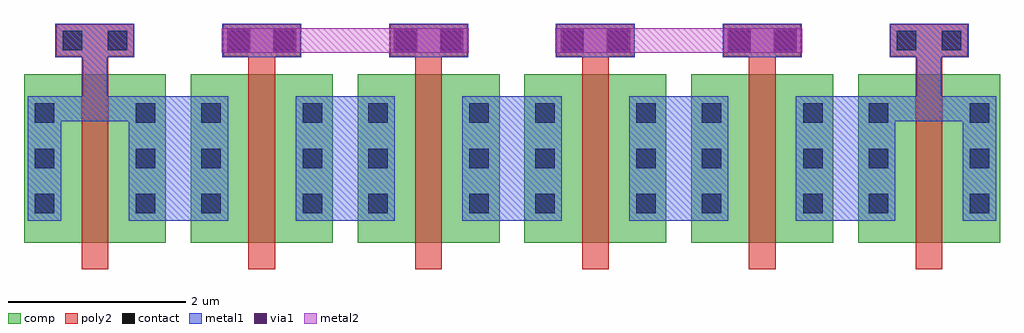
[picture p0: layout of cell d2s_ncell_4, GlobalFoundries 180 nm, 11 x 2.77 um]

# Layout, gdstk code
import gdstk
lib = gdstk.Library(unit=1e-6, precision=5e-09)
def R(c, l, rs):  # rectangles x0, y0, x1, y1
    for r in rs: c.add(gdstk.rectangle(r[:2], r[2:], *l))
def A(c, l, x, y, w, h, nx, ny, dx, dy):  # array of equal rectangles
    R(c, l, [(x+i*dx, y+j*dy, x+i*dx+w, y+j*dy+h) for i in range(nx) for j in range(ny)])
comp = (22, 0)
poly2 = (30, 0)
contact = (33, 0)
metal1 = (34, 0)
via1 = (35, 0)
metal2 = (36, 0)

d2s_ncell_1 = lib.new_cell('d2s_ncell_1')
R(d2s_ncell_1, comp, [(0,0.3,0.46,2.2), (0.46,0.3,1.14,2.2), (1.14,0.3,1.6,2.2)])
R(d2s_ncell_1, poly2, [(0.65,0,0.95,2.5)])
A(d2s_ncell_1, contact, 0.12, 0.63, 0.22, 0.22, 1, 3, 0, 0.51)
A(d2s_ncell_1, contact, 1.26, 0.63, 0.22, 0.22, 1, 3, 0, 0.51)
R(d2s_ncell_1, metal1, [(0.04,0.55,0.42,1.95), (1.18,0.55,1.56,1.95)])

d2s_ncell_4 = lib.new_cell('d2s_ncell_4')
A(d2s_ncell_4, poly2, 0.365, 2.4, 0.87, 0.36, 6, 1, 1.88, 0)
R(d2s_ncell_4, contact, [(0.435,2.47,0.655,2.69), (0.945,2.47,1.165,2.69), (2.315,2.47,2.535,2.69), (2.825,2.47,3.045,2.69), (4.195,2.47,4.415,2.69), (4.705,2.47,4.925,2.69), (6.075,2.47,6.295,2.69), (6.585,2.47,6.805,2.69), (7.955,2.47,8.175,2.69), (8.465,2.47,8.685,2.69), (9.835,2.47,10.055,2.69), (10.345,2.47,10.565,2.69)])
A(d2s_ncell_4, metal1, 1.56, 0.55, 0.36, 1.4, 5, 1, 1.88, 0)
A(d2s_ncell_4, metal1, 0.355, 2.39, 0.89, 0.38, 6, 1, 1.88, 0)
R(d2s_ncell_4, via1, [(2.29,2.45,2.55,2.71), (2.81,2.45,3.07,2.71), (4.17,2.45,4.43,2.71), (4.69,2.45,4.95,2.71), (6.05,2.45,6.31,2.71), (6.57,2.45,6.83,2.71), (7.93,2.45,8.19,2.71), (8.45,2.45,8.71,2.71)])
d2s_ncell_4.add(gdstk.FlexPath([(9.82,1.81),(10.58,1.81)], 0.28, ends="flush", simple_path=True, layer=34, datatype=0))  # metal1
d2s_ncell_4.add(gdstk.FlexPath([(10.2,2.39),(10.2,1.95)], 0.28, ends="flush", simple_path=True, layer=34, datatype=0))  # metal1
d2s_ncell_4.add(gdstk.FlexPath([(0.8,2.39),(0.8,1.95)], 0.28, ends="flush", simple_path=True, layer=34, datatype=0))  # metal1
d2s_ncell_4.add(gdstk.FlexPath([(0.42,1.81),(1.18,1.81)], 0.28, ends="flush", simple_path=True, layer=34, datatype=0))  # metal1
d2s_ncell_4.add(gdstk.FlexPath([(5.01,2.58),(2.23,2.58)], 0.28, ends="flush", simple_path=True, layer=36, datatype=0))  # metal2
d2s_ncell_4.add(gdstk.FlexPath([(8.77,2.58),(5.99,2.58)], 0.28, ends="flush", simple_path=True, layer=36, datatype=0))  # metal2
d2s_ncell_4.add(gdstk.Reference(d2s_ncell_1, (0,0)))
d2s_ncell_4.add(gdstk.Reference(d2s_ncell_1, (1.88,0)))
d2s_ncell_4.add(gdstk.Reference(d2s_ncell_1, (3.76,0)))
d2s_ncell_4.add(gdstk.Reference(d2s_ncell_1, (5.64,0)))
d2s_ncell_4.add(gdstk.Reference(d2s_ncell_1, (7.52,0)))
d2s_ncell_4.add(gdstk.Reference(d2s_ncell_1, (9.4,0)))

lib.write_gds('d2s_ncell_4.gds')
